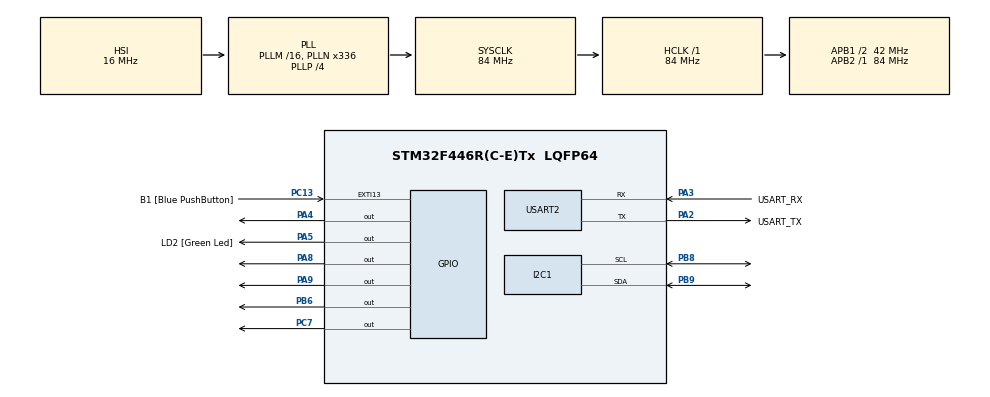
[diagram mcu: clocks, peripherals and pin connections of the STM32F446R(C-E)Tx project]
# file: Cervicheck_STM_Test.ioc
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Mcu.Family=STM32F4
Mcu.Name=STM32F446R(C-E)Tx
Mcu.Package=LQFP64
NVIC.PriorityGroup=NVIC_PRIORITYGROUP_0
PA13.GPIO_Label=TMS
PA13.Mode=Serial_Wire
PA13.Signal=SYS_JTMS-SWDIO
PA14.GPIO_Label=TCK
PA14.Mode=Serial_Wire
PA14.Signal=SYS_JTCK-SWCLK
PA2.GPIO_Label=USART_TX
PA2.Mode=Asynchronous
PA2.Signal=USART2_TX
PA3.GPIO_Label=USART_RX
PA3.Mode=Asynchronous
PA3.Signal=USART2_RX
PA4.Signal=GPIO_Output
PA5.GPIO_Label=LD2 [Green Led]
PA5.Signal=GPIO_Output
PA8.Signal=GPIO_Output
PA9.Signal=GPIO_Output
PB3.GPIO_Label=SWO
PB3.Signal=SYS_JTDO-SWO
PB6.Signal=GPIO_Output
PB8.Mode=I2C
PB8.Signal=I2C1_SCL
PB9.Mode=I2C
PB9.Signal=I2C1_SDA
PC13.GPIO_Label=B1 [Blue PushButton]
PC13.GPIO_ModeDefaultEXTI=GPIO_MODE_IT_FALLING
PC13.Signal=GPXTI13
PC14-OSC32_IN.Mode=LSE-External-Oscillator
PC14-OSC32_IN.Signal=RCC_OSC32_IN
PC15-OSC32_OUT.Mode=LSE-External-Oscillator
PC15-OSC32_OUT.Signal=RCC_OSC32_OUT
PC7.Signal=GPIO_Output
PH0-OSC_IN.Mode=HSE-External-Oscillator
PH0-OSC_IN.Signal=RCC_OSC_IN
PH1-OSC_OUT.Mode=HSE-External-Oscillator
PH1-OSC_OUT.Signal=RCC_OSC_OUT
ProjectManager.HeapSize=0x200
ProjectManager.StackSize=0x400
ProjectManager.TargetToolchain=STM32CubeIDE
RCC.48MHZClocksFreq_Value=84000000
RCC.AHBFreq_Value=84000000
RCC.APB1CLKDivider=RCC_HCLK_DIV2
RCC.APB1Freq_Value=42000000
RCC.APB1TimFreq_Value=84000000
RCC.APB2Freq_Value=84000000
RCC.APB2TimFreq_Value=84000000
RCC.CortexFreq_Value=84000000
RCC.FLatency-AdvancedSettings=FLASH_LATENCY_2
RCC.HCLKFreq_Value=84000000
RCC.HSE_VALUE=8000000
RCC.HSI_VALUE=16000000
RCC.PLLN=336
RCC.PLLP=RCC_PLLP_DIV4
RCC.SYSCLKFreq_VALUE=84000000
RCC.SYSCLKSource=RCC_SYSCLKSOURCE_PLLCLK
RCC.USBFreq_Value=168000000
RCC.VCOOutputFreq_Value=336000000
USART2.VirtualMode=VM_ASYNC
board=NUCLEO-F446RE

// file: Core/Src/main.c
/* USER CODE BEGIN Header */
/**
  ******************************************************************************
  * @file           : main.c
  * @brief          : Main program body
  ******************************************************************************
  * @attention
  *
  * Copyright (c) 2026 STMicroelectronics.
  * All rights reserved.
  *
  * This software is licensed under terms that can be found in the LICENSE file
  * in the root directory of this software component.
  * If no LICENSE file comes with this software, it is provided AS-IS.
  *
  ******************************************************************************
  */
/* USER CODE END Header */
#include "main.h"

/* USER CODE BEGIN Includes */
#include "board.h"
#include <stdio.h>
#include <string.h>
#include <stdlib.h>
/* USER CODE END Includes */

I2C_HandleTypeDef hi2c1;

UART_HandleTypeDef huart2;

void SystemClock_Config(void);
static void MX_GPIO_Init(void);
static void MX_USART2_UART_Init(void);
static void MX_I2C1_Init(void);

/* USER CODE BEGIN 0 */
// Read UART2 until '\r' or timeout, like Arduino's Serial.readStringUntil('\r').
// buf is always null-terminated; '\n' is ignored.
static void readLine(char *buf, size_t len, uint32_t timeout_ms)
{
  size_t n = 0;
  uint8_t ch;
  uint32_t start = HAL_GetTick();

  memset(buf, 0, len);
  while (n < len - 1 && (HAL_GetTick() - start) < timeout_ms) {
    if (HAL_UART_Receive(&huart2, &ch, 1, 10) != HAL_OK) {
      continue;
    }
    if (ch == '\r') {
      break;
    }
    if (ch == '\n') {
      continue;
    }
    buf[n++] = (char)ch;
  }
}
/* USER CODE END 0 */

int main(void)
{

  /* MCU Configuration--------------------------------------------------------*/

  /* Reset of all peripherals, Initializes the Flash interface and the Systick. */
  HAL_Init();

  /* Configure the system clock */
  SystemClock_Config();

  /* Initialize all configured peripherals */
  MX_GPIO_Init();
  MX_USART2_UART_Init();
  MX_I2C1_Init();
  /* USER CODE BEGIN 2 */
  dac = MCP4725_init(&hi2c1, MCP4725A0_ADDR_A00, 5.0);
  ADS1015(&ads, &hi2c1, ADS_ADDR_GND);
  HAL_GPIO_WritePin(GPIOA, GPIO_PIN_4,  GPIO_PIN_RESET);
  HAL_GPIO_WritePin(GPIOA, GPIO_PIN_8,  GPIO_PIN_RESET);
  selectPad(0);
  // Unbuffered stdout so printf output is sent immediately, even without a newline
  setvbuf(stdout, NULL, _IONBF, 0);
  /* USER CODE END 2 */

  /* Infinite loop */
  /* USER CODE BEGIN WHILE */
  while (1)
  {
	  uint8_t userInput;
	  char data[20];

	  if (HAL_UART_Receive(&huart2, &userInput, 1, 10) == HAL_OK) {

		  if (userInput == 's') {
			  long t1 = HAL_GetTick();
			  pressureSweep();
			  long t2 = HAL_GetTick();
			  printf("Done!\r\n");
			  for (int i = 0; i < NUM_PADS; i++) {
				  printf("%.2f\r\n", stressStrain[i]);
			  }
			  printf("Time: %ld\r\n", t2 - t1);
			  for (int i = 0; i < NUM_PADS; i++) {
				  stressStrain[i] = 0;
			  }
			  printf("Releasing Valve: \r\n");
			  releaseValve(1);
			  HAL_Delay(5000);
			  releaseValve(0);
		  }

		  if (userInput == 'p') {
			  calibratePressure();
			  selectPressure(0);
		  }

		  if (userInput == 'r') {
			  readLine(data, sizeof(data), 1000);
			  slope = atof(data);
			  readLine(data, sizeof(data), 1000);
			  yint = atof(data);
		  }

		  if (userInput == 'i') {
			  readLine(data, sizeof(data), 1000);
			  pres_start = atof(data);
			  readLine(data, sizeof(data), 1000);
			  pres_incr = atof(data);
			  readLine(data, sizeof(data), 1000);
			  pres_num_incr = atoi(data);
			  readLine(data, sizeof(data), 1000);
			  float thresh = atof(data);
			  if (thresh > 0 && thresh <= 5.0f) {
				  res_volt_thresh = thresh;
			  } else {
				  printf("Ignored out-of-range contact threshold: %.2f\r\n", thresh);
			  }
			  printf("Contact voltage threshold (V): %.2f\r\n", res_volt_thresh);
		  }

		  if (userInput == 't') {
			  readLine(data, sizeof(data), 1000);
			  releaseValve(atoi(data));
		  }

		  // --- TROUBLESHOOTING: check ADC/pad-0 calibration resistor baseline ---
		  if (userInput == 'c') {
			  calibCheck();
		  }
		  // --- END TROUBLESHOOTING ---
	  }
    /* USER CODE END WHILE */

  }
}

void SystemClock_Config(void)
{
  RCC_OscInitTypeDef RCC_OscInitStruct = {0};
  RCC_ClkInitTypeDef RCC_ClkInitStruct = {0};

  /** Configure the main internal regulator output voltage
  */
  __HAL_RCC_PWR_CLK_ENABLE();
  __HAL_PWR_VOLTAGESCALING_CONFIG(PWR_REGULATOR_VOLTAGE_SCALE3);

  /** Initializes the RCC Oscillators according to the specified parameters
  * in the RCC_OscInitTypeDef structure.
  */
  RCC_OscInitStruct.OscillatorType = RCC_OSCILLATORTYPE_HSI;
  RCC_OscInitStruct.HSIState = RCC_HSI_ON;
  RCC_OscInitStruct.HSICalibrationValue = RCC_HSICALIBRATION_DEFAULT;
  RCC_OscInitStruct.PLL.PLLState = RCC_PLL_ON;
  RCC_OscInitStruct.PLL.PLLSource = RCC_PLLSOURCE_HSI;
  RCC_OscInitStruct.PLL.PLLM = 16;
  RCC_OscInitStruct.PLL.PLLN = 336;
  RCC_OscInitStruct.PLL.PLLP = RCC_PLLP_DIV4;
  RCC_OscInitStruct.PLL.PLLQ = 2;
  RCC_OscInitStruct.PLL.PLLR = 2;
  if (HAL_RCC_OscConfig(&RCC_OscInitStruct) != HAL_OK)
  {
    Error_Handler();
  }

  /** Initializes the CPU, AHB and APB buses clocks
  */
  RCC_ClkInitStruct.ClockType = RCC_CLOCKTYPE_HCLK|RCC_CLOCKTYPE_SYSCLK
                              |RCC_CLOCKTYPE_PCLK1|RCC_CLOCKTYPE_PCLK2;
  RCC_ClkInitStruct.SYSCLKSource = RCC_SYSCLKSOURCE_PLLCLK;
  RCC_ClkInitStruct.AHBCLKDivider = RCC_SYSCLK_DIV1;
  RCC_ClkInitStruct.APB1CLKDivider = RCC_HCLK_DIV2;
  RCC_ClkInitStruct.APB2CLKDivider = RCC_HCLK_DIV1;

  if (HAL_RCC_ClockConfig(&RCC_ClkInitStruct, FLASH_LATENCY_2) != HAL_OK)
  {
    Error_Handler();
  }
}

static void MX_I2C1_Init(void)
{

  hi2c1.Instance = I2C1;
  hi2c1.Init.ClockSpeed = 100000;
  hi2c1.Init.DutyCycle = I2C_DUTYCYCLE_2;
  hi2c1.Init.OwnAddress1 = 0;
  hi2c1.Init.AddressingMode = I2C_ADDRESSINGMODE_7BIT;
  hi2c1.Init.DualAddressMode = I2C_DUALADDRESS_DISABLE;
  hi2c1.Init.OwnAddress2 = 0;
  hi2c1.Init.GeneralCallMode = I2C_GENERALCALL_DISABLE;
  hi2c1.Init.NoStretchMode = I2C_NOSTRETCH_DISABLE;
  if (HAL_I2C_Init(&hi2c1) != HAL_OK)
  {
    Error_Handler();
  }

}

static void MX_USART2_UART_Init(void)
{

  huart2.Instance = USART2;
  huart2.Init.BaudRate = 115200;
  huart2.Init.WordLength = UART_WORDLENGTH_8B;
  huart2.Init.StopBits = UART_STOPBITS_1;
  huart2.Init.Parity = UART_PARITY_NONE;
  huart2.Init.Mode = UART_MODE_TX_RX;
  huart2.Init.HwFlowCtl = UART_HWCONTROL_NONE;
  huart2.Init.OverSampling = UART_OVERSAMPLING_16;
  if (HAL_UART_Init(&huart2) != HAL_OK)
  {
    Error_Handler();
  }

}

static void MX_GPIO_Init(void)
{
  GPIO_InitTypeDef GPIO_InitStruct = {0};

  /* GPIO Ports Clock Enable */
  __HAL_RCC_GPIOC_CLK_ENABLE();
  __HAL_RCC_GPIOH_CLK_ENABLE();
  __HAL_RCC_GPIOA_CLK_ENABLE();
  __HAL_RCC_GPIOB_CLK_ENABLE();

  /*Configure GPIO pin Output Level */
  HAL_GPIO_WritePin(GPIOA, GPIO_PIN_4|LD2_Pin|GPIO_PIN_8|GPIO_PIN_9, GPIO_PIN_RESET);

  /*Configure GPIO pin Output Level */
  HAL_GPIO_WritePin(GPIOC, GPIO_PIN_7, GPIO_PIN_RESET);

  /*Configure GPIO pin Output Level */
  HAL_GPIO_WritePin(GPIOB, GPIO_PIN_6, GPIO_PIN_RESET);

  /*Configure GPIO pin : B1_Pin */
  GPIO_InitStruct.Pin = B1_Pin;
  GPIO_InitStruct.Mode = GPIO_MODE_IT_FALLING;
  GPIO_InitStruct.Pull = GPIO_NOPULL;
  HAL_GPIO_Init(B1_GPIO_Port, &GPIO_InitStruct);

  /*Configure GPIO pins : PA4 LD2_Pin PA8 PA9 */
  GPIO_InitStruct.Pin = GPIO_PIN_4|LD2_Pin|GPIO_PIN_8|GPIO_PIN_9;
  GPIO_InitStruct.Mode = GPIO_MODE_OUTPUT_PP;
  GPIO_InitStruct.Pull = GPIO_NOPULL;
  GPIO_InitStruct.Speed = GPIO_SPEED_FREQ_LOW;
  HAL_GPIO_Init(GPIOA, &GPIO_InitStruct);

  /*Configure GPIO pin : PC7 */
  GPIO_InitStruct.Pin = GPIO_PIN_7;
  GPIO_InitStruct.Mode = GPIO_MODE_OUTPUT_PP;
  GPIO_InitStruct.Pull = GPIO_NOPULL;
  GPIO_InitStruct.Speed = GPIO_SPEED_FREQ_LOW;
  HAL_GPIO_Init(GPIOC, &GPIO_InitStruct);

  /*Configure GPIO pin : PB6 */
  GPIO_InitStruct.Pin = GPIO_PIN_6;
  GPIO_InitStruct.Mode = GPIO_MODE_OUTPUT_PP;
  GPIO_InitStruct.Pull = GPIO_NOPULL;
  GPIO_InitStruct.Speed = GPIO_SPEED_FREQ_LOW;
  HAL_GPIO_Init(GPIOB, &GPIO_InitStruct);

}

void Error_Handler(void)
{
  __disable_irq();
  while (1)
  {
  }
}
